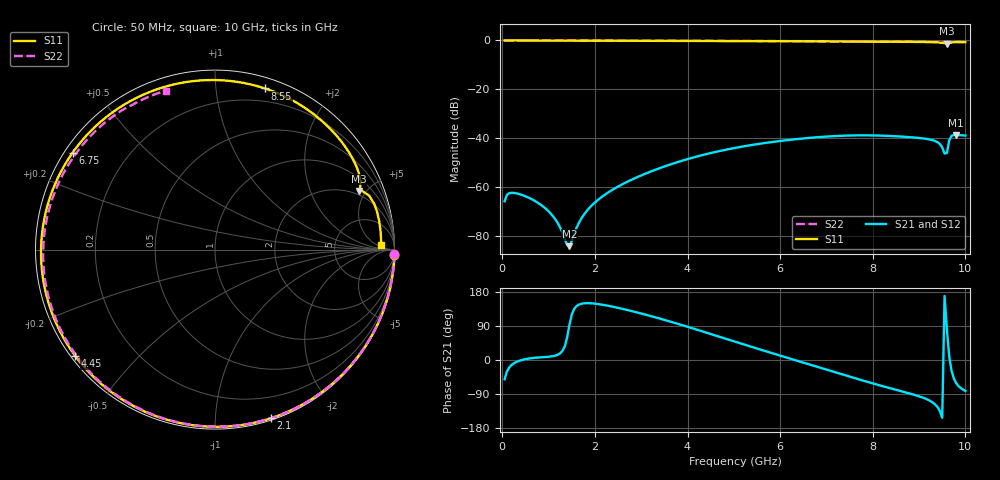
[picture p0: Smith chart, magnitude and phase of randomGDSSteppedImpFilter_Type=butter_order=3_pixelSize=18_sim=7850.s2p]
! freq	dB(S11)	phase(S11)	dB(S12)	phase(S12)
!  dB(S21)	phase(S21)	dB(S22)	phase(S22)
!S-par simulation data
#  GHz  S  DB  R 50
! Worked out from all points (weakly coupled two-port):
!   200 points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, 50 MHz to 10 GHz, reference 50 ohm
!   highest |S21| = -38.70 dB at 9.8 GHz (marker M1); lowest = -84.3 dB at 1.45 GHz (marker M2)
!   lowest |S11| = -1.3 dB at 9.6 GHz (marker M3), VSWR 13.66, Z = 86.7 + j223 ohm
!   |S11| at or under -10 dB: nowhere
!   |S22| runs from -0.7 to 0.0 dB; largest |S21 - S12| = 0
!   S11 on the Smith chart (normalised r, x): 50 MHz: 0, -65; 2.1 GHz: 0.01, -1.39; 4.45 GHz: 0.01, -0.34; 6.75 GHz: 0.02, +0.31; 8.55 GHz: 0.09, +1.35; 10 GHz: 23, +9
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0.05  -0.00 -1.8  -65.92 -50.9  -65.92 -50.9  -0.00 -1.3
0.2  -0.00 -7.1  -62.44 -13.1  -62.44 -13.1  -0.00 -5.3
0.65  -0.02 -22.9  -65.19 5.1  -65.19 5.1  -0.02 -17.1
1.35  -0.06 -46.9  -81.45 36.2  -81.45 36.2  -0.04 -35.2
1.45  -0.06 -50.3  -84.30 92.8  -84.30 92.8  -0.05 -37.8
1.55  -0.07 -53.6  -79.33 134.4  -79.33 134.4  -0.05 -40.3
1.75  -0.08 -60.3  -71.73 149.4  -71.73 149.4  -0.06 -45.4
2.1  -0.09 -71.6  -64.81 147.1  -64.81 147.1  -0.07 -54.1
3.4  -0.14 -111.8  -52.32 109.4  -52.32 109.4  -0.11 -85.5
4.45  -0.19 -142.7  -46.36 70.5  -46.36 70.5  -0.16 -109.8
5.05  -0.23 -160.4  -43.94 47.4  -43.94 47.4  -0.19 -123.4
5.9  -0.29 173.8  -41.43 15.3  -41.43 15.3  -0.24 -142.6
6.7  -0.35 147.4  -39.81 -14.4  -39.81 -14.4  -0.31 -161.1
6.75  -0.36 145.7  -39.73 -16.2  -39.73 -16.2  -0.31 -162.3
7.65  -0.44 112.0  -38.90 -49.4  -38.90 -49.4  -0.40 175.7
8.35  -0.51 82.0  -39.12 -73.7  -39.12 -73.7  -0.47 157.3
8.55  -0.54 72.8  -39.31 -80.2  -39.31 -80.2  -0.49 151.7
9.3  -0.70 35.8  -40.91 -112.6  -40.91 -112.6  -0.58 129.6
9.6  -1.27 22.2  -46.14 81.9  -46.14 81.9  -0.63 120.1
9.7  -0.82 19.3  -39.10 -27.9  -39.10 -27.9  -0.65 117.0
9.8  -0.65 13.0  -38.70 -60.8  -38.70 -60.8  -0.65 113.8
10  -0.66 1.7  -38.98 -81.6  -38.98 -81.6  -0.66 107.1
